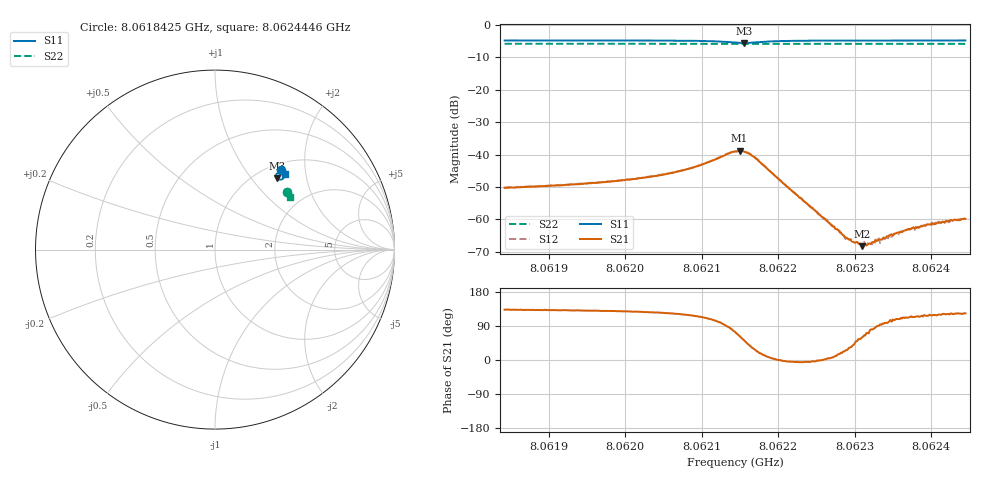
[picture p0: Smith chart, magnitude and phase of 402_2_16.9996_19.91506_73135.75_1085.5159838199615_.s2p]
#  HZ  S  RI  R  50.00
! Rohde & Schwarz Vector Network Analyzer
! Rohde-Schwarz,ZNB20-2Port,1311601062101988,3.16
! Created: UTC 3/20/2024, 11:10:05 PM
! freq[Hz]  re:S11  im:S11  re:S21  im:S21  re:S12  im:S12  re:S22  im:S22
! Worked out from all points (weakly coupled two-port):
!   401 points, 8.0618425 GHz to 8.0624446 GHz, reference 50 ohm
!   highest |S21| = -38.80 dB at 8.0621496 GHz (marker M1); lowest = -68.2 dB at 8.0623091 GHz (marker M2)
!   lowest |S11| = -5.6 dB at 8.0621556 GHz (marker M3), VSWR 3.23, Z = 62 + j68 ohm
!   |S11| at or under -10 dB: nowhere
!   |S22| runs from -5.9 to -5.8 dB; largest |S21 - S12| = 0.00077
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8.06184252e9  0.3669 0.444  -0.0021 0.00226  -0.00197 0.00237  0.399 0.3211
8.06194337e9  0.3742 0.4377  -0.00231 0.0027  -0.00215 0.00288  0.4027 0.316
8.06200508e9  0.3788 0.4326  -0.00254 0.00324  -0.00236 0.00343  0.4052 0.3128
8.06204422e9  0.3824 0.4281  -0.00277 0.00392  -0.00255 0.00413  0.4065 0.3106
8.06208937e9  0.3863 0.4182  -0.00287 0.00567  -0.00253 0.0059  0.408 0.3081
8.06214356e9  0.3654 0.3899  0.003 0.0108  0.00366 0.0106  0.4086 0.3045
8.06214958e9  0.3563 0.3911  0.00522 0.0102  0.0058 0.00993  0.4086 0.3044
8.0621556e9  0.3479 0.3962  0.0069 0.0087  0.00737 0.00841  0.4083 0.3044
8.06217215e9  0.3418 0.419  0.00788 0.00331  0.00811 0.00289  0.409 0.3047
8.0622444e9  0.372 0.4345  0.00149 -8.07e-05  0.00151 -0.000193  0.413 0.3017
8.06227751e9  0.3777 0.4323  0.000675 0.000171  0.000698 0.0001  0.4142 0.2998
8.06228504e9  0.3788 0.4318  0.000526 0.000218  0.000557 0.000194  0.4145 0.2995
8.0623016e9  0.3806 0.4307  0.000286 0.000339  0.000354 0.000277  0.4151 0.2986
8.06230912e9  0.3815 0.4303  0.000197 0.000334  0.000239 0.000365  0.4154 0.2981
8.06231815e9  0.3824 0.4296  0.000143 0.000394  0.000146 0.000419  0.4158 0.2977
8.06232568e9  0.3832 0.4291  4.77e-05 0.000449  7.3e-05 0.000438  0.416 0.2973
8.06232869e9  0.3835 0.429  6.88e-06 0.000464  6.59e-06 0.000458  0.4163 0.2971
8.06233621e9  0.3842 0.4285  -5.45e-05 0.000499  1.35e-06 0.000495  0.4164 0.2966
8.06234525e9  0.3851 0.428  -0.000122 0.000549  -0.000105 0.000586  0.417 0.2964
8.0623618e9  0.3865 0.4268  -0.000214 0.0006  -0.000168 0.000622  0.4174 0.2954
8.06238739e9  0.3885 0.4253  -0.000353 0.000696  -0.000304 0.000739  0.4182 0.294
8.06244458e9  0.3925 0.4221  -0.00056 0.000852  -0.000517 0.000891  0.4202 0.2913
